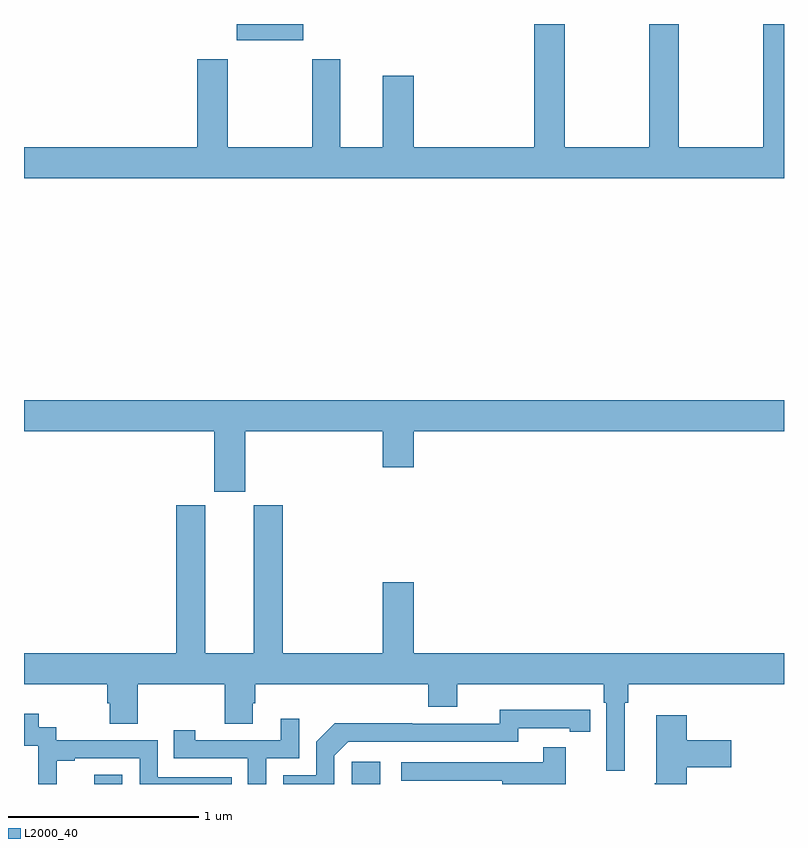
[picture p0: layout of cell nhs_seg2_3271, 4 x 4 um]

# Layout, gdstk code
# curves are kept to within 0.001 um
import gdstk
lib = gdstk.Library(unit=1e-6, precision=1e-09)
def R(c, l, rs):  # rectangles x0, y0, x1, y1
    for r in rs: c.add(gdstk.rectangle(r[:2], r[2:], *l))
def P(c, l, *ps):  # polygons
    for p in ps: c.add(gdstk.Polygon(p, *l))
L2000_40 = (2000, 40)

nhs_seg2_3271 = lib.new_cell('nhs_seg2_3271')
R(nhs_seg2_3271, L2000_40, [(283.371,625.8,283.518,625.849), (284.724,625.8,284.875,625.918), (284.12,629.714,284.47,629.8)])
P(nhs_seg2_3271, L2000_40, [(287,629.8),(286.891,629.8),(286.891,629.152),(286.446,629.152),(286.446,629.8),(286.291,629.8),(286.291,629.152),(285.846,629.152),(285.846,629.8),(285.686,629.8),(285.686,629.152),(285.052,629.152),(285.052,629.527),(284.888,629.527),(284.888,629.152),(284.665,629.152),(284.665,629.614),(284.518,629.614),(284.518,629.152),(284.073,629.152),(284.073,629.614),(283.913,629.614),(283.913,629.152),(283,629.152),(283,628.988),(287,628.988)],
  [(284.164,627.656),(284.888,627.656),(284.888,627.468),(285.052,627.468),(285.052,627.656),(287,627.656),(287,627.82),(283,627.82),(283,627.656),(284,627.656),(284,627.339),(284.164,627.339)],
  [(286.162,626.228),(286.181,626.228),(286.181,626.324),(287,626.324),(287,626.488),(285.052,626.488),(285.052,626.863),(284.888,626.863),(284.888,626.488),(284.363,626.488),(284.363,627.267),(284.21,627.267),(284.21,626.488),(283.954,626.488),(283.954,627.267),(283.802,627.267),(283.802,626.488),(283,626.488),(283,626.324),(283.439,626.324),(283.439,626.226),(283.451,626.226),(283.451,626.116),(283.599,626.116),(283.599,626.324),(284.056,626.324),(284.056,626.116),(284.203,626.116),(284.203,626.226),(284.216,626.226),(284.216,626.324),(285.128,626.324),(285.128,626.207),(285.28,626.207),(285.28,626.324),(286.052,626.324),(286.052,626.228),(286.065,626.228),(286.065,625.869),(286.162,625.869)],
  [(284.634,625.95),(284.706,626.022),(285.6,626.022),(285.6,626.094),(285.872,626.094),(285.872,626.074),(285.98,626.074),(285.98,626.19),(285.504,626.191),(285.504,626.118),(285.044,626.118),(285.044,626.12),(284.636,626.12),(284.538,626.022),(284.538,625.845),(284.364,625.845),(284.364,625.8),(284.634,625.8)],
  [(283.172,625.923),(283.267,625.923),(283.267,625.935),(283.608,625.935),(283.608,625.8),(284.093,625.8),(284.093,625.836),(283.704,625.836),(283.704,626.031),(283.17,626.031),(283.17,626.1),(283.078,626.1),(283.078,626.17),(283,626.17),(283,626.001),(283.074,626.001),(283.074,625.8),(283.172,625.8)],
  [(286.487,625.889),(286.723,625.889),(286.723,626.031),(286.487,626.031),(286.487,626.161),(286.328,626.161),(286.328,625.805),(286.321,625.805),(286.321,625.8),(286.487,625.8)],
  [(284.274,625.935),(284.448,625.935),(284.448,626.143),(284.351,626.143),(284.351,626.031),(283.9,626.031),(283.9,626.083),(283.789,626.083),(283.789,625.935),(284.178,625.935),(284.178,625.8),(284.274,625.8)],
  [(285.851,625.993),(285.733,625.993),(285.733,625.914),(284.985,625.914),(284.985,625.818),(285.517,625.818),(285.517,625.8),(285.851,625.8)])

lib.write_gds('nhs_seg2_3271.gds')
